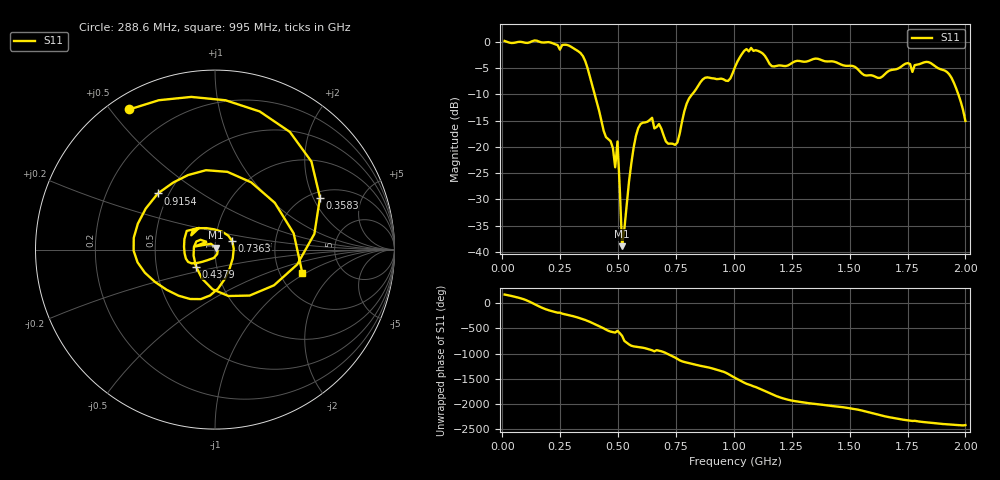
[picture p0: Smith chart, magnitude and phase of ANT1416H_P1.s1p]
!Created with skrf (http://scikit-rf.org).
# Hz S RI R 50.0
!freq ReS11 ImS11
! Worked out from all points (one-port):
!   201 points, 10 MHz to 2 GHz, reference 50 ohm
!   lowest |S11| = -38.9 dB at 517.5 MHz (marker M1), VSWR 1.02, Z = 50.4 + j1.09 ohm
!   |S11| at or under -10 dB: 398.8 MHz to 820.2 MHz (421.4 MHz wide, 69.1 % of centre); 1.969 GHz to end of sweep
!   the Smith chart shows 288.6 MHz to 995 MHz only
!   S11 on the Smith chart (normalised r, x): 288.6 MHz: 0.06, +0.56; 358.2 MHz: 2.24, +2.26; 437.9 MHz: 0.80, -0.15; 736.4 MHz: 1.21, +0.11; 915.5 MHz: 0.44, +0.34; 995 MHz: 2.66, -0.91
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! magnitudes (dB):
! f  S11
! 10 MHz  0.1
! 258.8 MHz  -0.6
! 288.6 MHz  -0.8
! 358.2 MHz  -3.7
! 437.9 MHz  -17.0
! 477.6 MHz  -20.2
! 487.6 MHz  -23.9
! 497.6 MHz  -19.0
! 507.5 MHz  -28.1
! 517.5 MHz  -38.9
! 557.2 MHz  -23.1
! 587.1 MHz  -16.4
! 646.8 MHz  -14.5
! 736.4 MHz  -19.4
! 756.2 MHz  -19.2
! 806 MHz  -10.8
! 865.7 MHz  -7.2
! 915.5 MHz  -7.0
! 995 MHz  -6.0
! 1.005 GHz  -4.8
! 1.075 GHz  -1.2
! 1.164 GHz  -4.7
! 1.254 GHz  -4.0
! 1.502 GHz  -4.6
! 1.632 GHz  -6.9
! 1.751 GHz  -4.1
! 1.92 GHz  -5.8
! 2 GHz  -15.1
